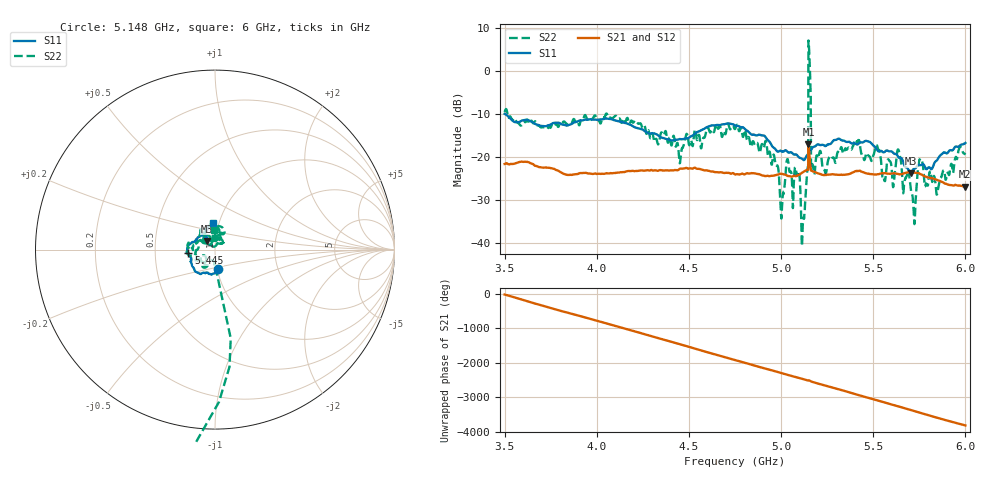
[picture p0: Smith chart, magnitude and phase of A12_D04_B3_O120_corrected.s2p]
! Created with skrf 1.9.0 (http://scikit-rf.org).
# Hz S RI R 50.0
!freq ReS11 ImS11 ReS21 ImS21 ReS12 ImS12 ReS22 ImS22
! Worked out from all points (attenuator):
!   1601 points, 3.5 GHz to 6 GHz, reference 50 ohm
!   highest |S21| = -16.99 dB at 5.148 GHz (marker M1); lowest = -26.8 dB at 5.995 GHz (marker M2)
!   lowest |S11| = -23.7 dB at 5.703 GHz (marker M3), VSWR 1.14, Z = 45.5 + j4.37 ohm
!   |S11| at or under -10 dB: 3.504 GHz to end of sweep
!   |S22| runs from -40.6 to 7.1 dB; largest |S21 - S12| = 0.0012
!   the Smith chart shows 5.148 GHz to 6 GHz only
!   S11 on the Smith chart (normalised r, x): 5.148 GHz: 1.01, -0.22; 5.445 GHz: 0.74, -0.03; 6 GHz: 0.94, +0.28
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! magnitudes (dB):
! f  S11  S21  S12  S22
! 3.5 GHz  -9.9  -21.5  -21.5  -9.5
! 3.917 GHz  -11.5  -23.7  -23.6  -11.1
! 4.334 GHz  -15.0  -23.1  -23.0  -16.9
! 4.75 GHz  -12.6  -24.0  -23.9  -13.5
! 4.925 GHz  -15.9  -24.3  -24.3  -18.3
! 5.005 GHz  -18.6  -23.8  -23.8  -31.3
! 5.034 GHz  -18.7  -24.3  -24.2  -20.4
! 5.088 GHz  -19.5  -24.3  -24.2  -24.3
! 5.119 GHz  -20.5  -23.5  -23.4  -35.1
! 5.134 GHz  -20.0  -23.0  -22.9  -28.2
! 5.148 GHz  -19.2  -17.0  -17.0  7.1
! 5.161 GHz  -18.4  -22.6  -22.5  -6.0
! 5.167 GHz  -17.9  -23.2  -23.1  -21.7
! 5.175 GHz  -17.6  -23.3  -23.2  -22.6
! 5.445 GHz  -16.5  -23.5  -23.4  -19.7
! 5.584 GHz  -18.6  -23.8  -23.7  -20.6
! 5.703 GHz  -23.7  -23.6  -23.5  -27.2
! 5.72 GHz  -22.7  -23.6  -23.5  -33.2
! 5.756 GHz  -21.8  -23.9  -23.8  -20.8
! 5.848 GHz  -20.5  -25.3  -25.2  -28.2
! 5.995 GHz  -16.8  -26.8  -26.7  -19.2
! 6 GHz  -16.7  -26.8  -26.7  -19.4
